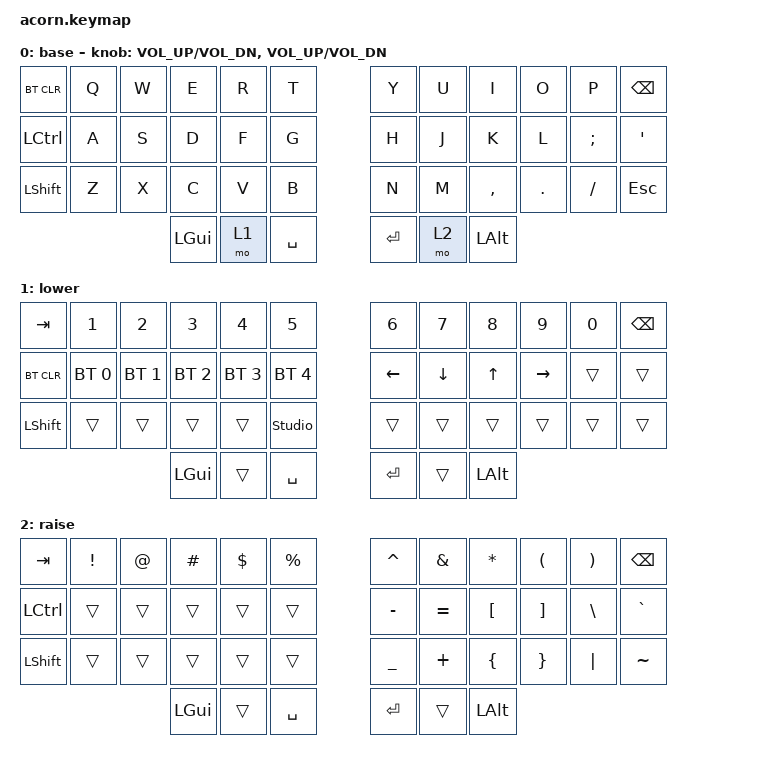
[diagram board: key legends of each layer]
#include <behaviors.dtsi>
#include <dt-bindings/zmk/bt.h>
#include <dt-bindings/zmk/keys.h>

/ {
    combos {
        compatible = "zmk,combos";

        combo_studio_unlock {
            timeout-ms = <50>;
            key-positions = <0 1>;
            bindings = <&studio_unlock>;
        };
    };

    keymap {
        compatible = "zmk,keymap";

        default_layer {
            display-name = "base";
            sensor-bindings = <&inc_dec_kp C_VOL_UP C_VOL_DN &inc_dec_kp C_VOL_UP C_VOL_DN>;

            // -----------------------------------------------------------------------------------------
            // |  TAB |  Q  |  W  |  E  |  R  |  T  |   |  Y  |  U   |  I  |  O  |  P  | BSPC |
            // | CTRL |  A  |  S  |  D  |  F  |  G  |   |  H  |  J   |  K  |  L  |  ;  |  '   |
            // | SHFT |  Z  |  X  |  C  |  V  |  B  |   |  N  |  M   |  ,  |  .  |  /  | ESC  |
            //                    | GUI | LWR | SPC |   | ENT | RSE  | ALT |

            bindings = <
&bt BT_CLR  &kp Q  &kp W  &kp E     &kp R  &kp T      &kp Y    &kp U  &kp I      &kp O    &kp P     &kp BSPC
&kp LCTRL   &kp A  &kp S  &kp D     &kp F  &kp G      &kp H    &kp J  &kp K      &kp L    &kp SEMI  &kp SQT
&kp LSHFT   &kp Z  &kp X  &kp C     &kp V  &kp B      &kp N    &kp M  &kp COMMA  &kp DOT  &kp FSLH  &kp ESC
                          &kp LGUI  &mo 1  &kp SPACE  &kp RET  &mo 2  &kp LALT
            >;
        };

        lower_layer {
            display-name = "lower";

            // -----------------------------------------------------------------------------------------
            // |  TAB |  1  |  2  |  3  |  4  |  5  |   |  6  |  7  |  8  |  9  |  0  | BSPC |
            // | BTCLR| BT1 | BT2 | BT3 | BT4 | BT5 |   | LFT | DWN |  UP | RGT |     |      |
            // | SHFT |     |     |     |     |     |   |     |     |     |     |     |      |
            //                    | GUI |     | SPC |   | ENT |     | ALT |

            bindings = <
&kp TAB     &kp N1        &kp N2        &kp N3        &kp N4        &kp N5          &kp N6    &kp N7    &kp N8    &kp N9     &kp N0  &kp BSPC
&bt BT_CLR  &bt BT_SEL 0  &bt BT_SEL 1  &bt BT_SEL 2  &bt BT_SEL 3  &bt BT_SEL 4    &kp LEFT  &kp DOWN  &kp UP    &kp RIGHT  &trans  &trans
&kp LSHFT   &trans        &trans        &trans        &trans        &studio_unlock  &trans    &trans    &trans    &trans     &trans  &trans
                                        &kp LGUI      &trans        &kp SPACE       &kp RET   &trans    &kp LALT
            >;
        };

        raise_layer {
            display-name = "raise";

            // -----------------------------------------------------------------------------------------
            // |  TAB |  !  |  @  |  #  |  $  |  %  |   |  ^  |  &  |  *  |  (  |  )  | BSPC |
            // | CTRL |     |     |     |     |     |   |  -  |  =  |  [  |  ]  |  \  |  `   |
            // | SHFT |     |     |     |     |     |   |  _  |  +  |  {  |  }  | "|" |  ~   |
            //                    | GUI |     | SPC |   | ENT |     | ALT |

            bindings = <
&kp TAB    &kp EXCL  &kp AT  &kp HASH  &kp DLLR  &kp PRCNT  &kp CARET  &kp AMPS   &kp ASTRK  &kp LPAR  &kp RPAR  &kp BSPC
&kp LCTRL  &trans    &trans  &trans    &trans    &trans     &kp MINUS  &kp EQUAL  &kp LBKT   &kp RBKT  &kp BSLH  &kp GRAVE
&kp LSHFT  &trans    &trans  &trans    &trans    &trans     &kp UNDER  &kp PLUS   &kp LBRC   &kp RBRC  &kp PIPE  &kp TILDE
                             &kp LGUI  &trans    &kp SPACE  &kp RET    &trans     &kp LALT
            >;
        };

        extra_layer0 {
            display-name = "extra_layer0";
            status = "reserved";
        };

        extra_layer1 {
            display-name = "extra_layer1";
            status = "reserved";
        };

        extra_layer2 {
            display-name = "extra_layer2";
            status = "reserved";
        };
    };
};
